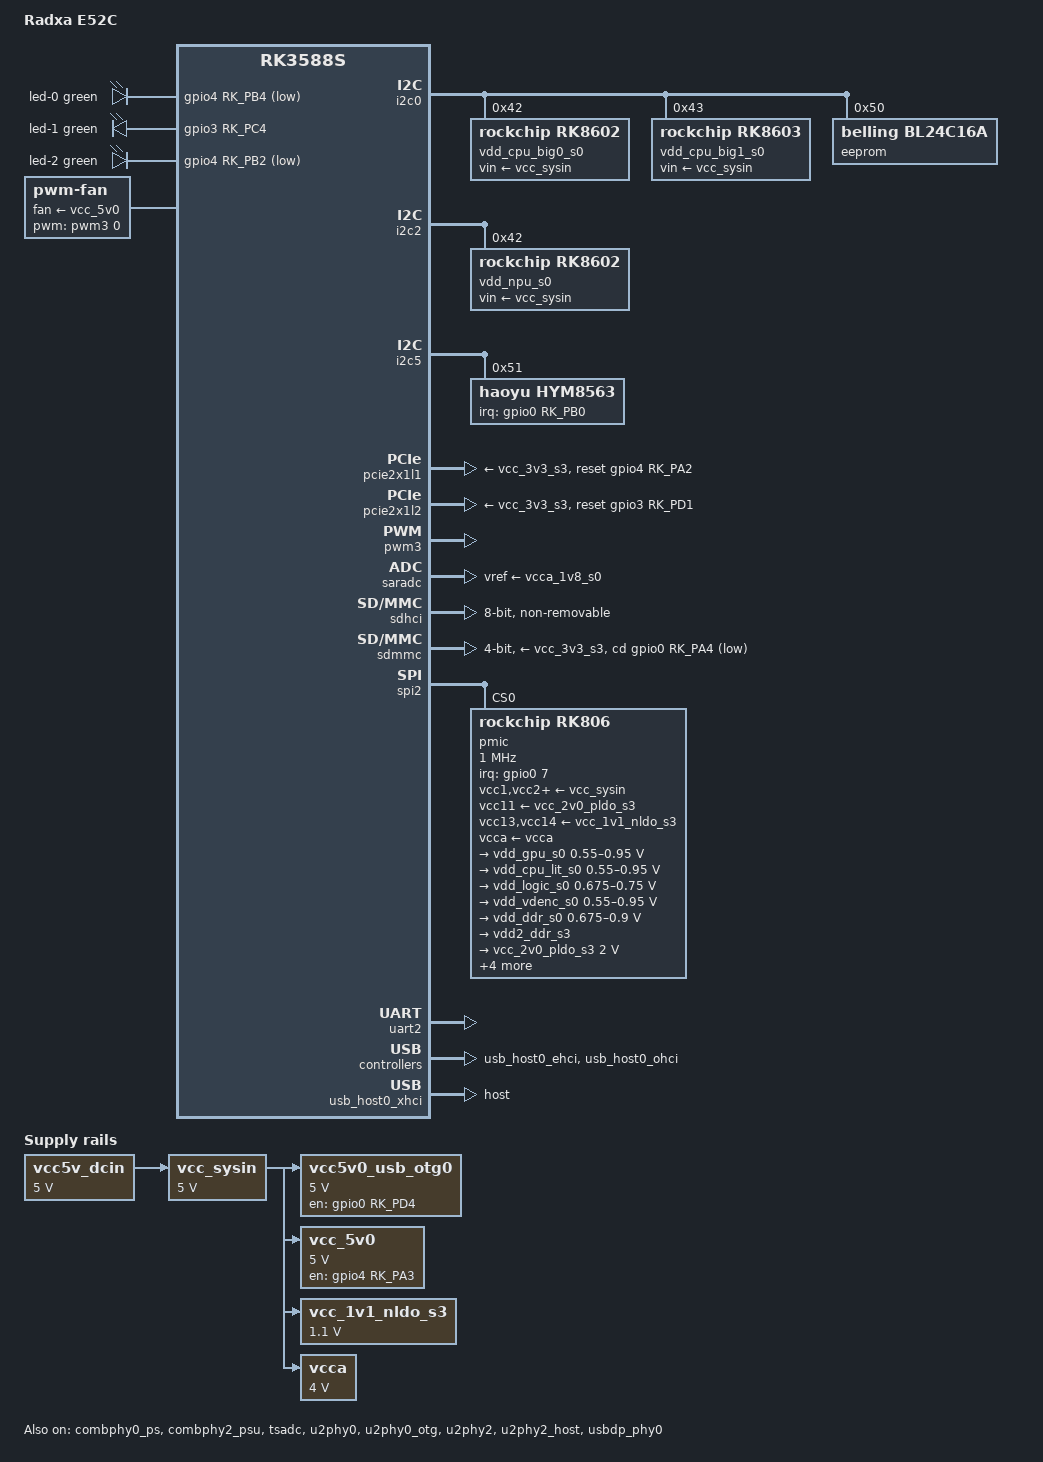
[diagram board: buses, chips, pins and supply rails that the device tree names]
// SPDX-License-Identifier: (GPL-2.0+ OR MIT)

/dts-v1/;

#include <dt-bindings/gpio/gpio.h>
#include <dt-bindings/leds/common.h>
#include <dt-bindings/pinctrl/rockchip.h>
#include "rk3588s.dtsi"

/ {
	model = "Radxa E52C";
	compatible = "radxa,e52c", "rockchip,rk3588s";

	aliases {
		mmc0 = &sdhci;
		mmc1 = &sdmmc;
	};

	chosen {
		stdout-path = "serial2:1500000n8";
	};

	leds {
		compatible = "gpio-leds";
		pinctrl-names = "default";
		pinctrl-0 = <&lan_led &power_led &wan_led>;

		led-0 {
			color = <LED_COLOR_ID_GREEN>;
			default-state = "on";
			function = LED_FUNCTION_WAN;
			gpios = <&gpio4 RK_PB4 GPIO_ACTIVE_LOW>;
			linux,default-trigger = "r8169-3-3100:00:link";
		};

		led-1 {
			color = <LED_COLOR_ID_GREEN>;
			default-state = "on";
			function = LED_FUNCTION_HEARTBEAT;
			gpios = <&gpio3 RK_PC4 GPIO_ACTIVE_HIGH>;
			linux,default-trigger = "heartbeat";
		};

		led-2 {
			color = <LED_COLOR_ID_GREEN>;
			default-state = "on";
			function = LED_FUNCTION_LAN;
			gpios = <&gpio4 RK_PB2 GPIO_ACTIVE_LOW>;
			linux,default-trigger = "r8169-4-4100:00:link";
		};
	};

	fan: pwm-fan {
		compatible = "pwm-fan";
		cooling-levels = <0 95 145 195 255>;
		fan-supply = <&vcc_5v0>;
		pwms = <&pwm3 0 50000 0>;
		#cooling-cells = <2>;
	};

	vcc5v_dcin: vcc5v-dcin-regulator {
		compatible = "regulator-fixed";
		regulator-name = "vcc5v_dcin";
		regulator-always-on;
		regulator-boot-on;
		regulator-min-microvolt = <5000000>;
		regulator-max-microvolt = <5000000>;
	};

	vcc5v0_usb_otg0: vcc5v0-usb-otg0-regulator {
		compatible = "regulator-fixed";
		regulator-name = "vcc5v0_usb_otg0";
		regulator-min-microvolt = <5000000>;
		regulator-max-microvolt = <5000000>;
		enable-active-high;
		gpio = <&gpio0 RK_PD4 GPIO_ACTIVE_HIGH>;
		pinctrl-names = "default";
		pinctrl-0 = <&usb_otg_pwren_h>;
		vin-supply = <&vcc_sysin>;
	};

	vcc_5v0: vcc-5v0-regulator {
		compatible = "regulator-fixed";
		regulator-name = "vcc_5v0";
		regulator-min-microvolt = <5000000>;
		regulator-max-microvolt = <5000000>;
		regulator-boot-on;
		regulator-always-on;
		enable-active-high;
		gpio = <&gpio4 RK_PA3 GPIO_ACTIVE_HIGH>;
		pinctrl-names = "default";
		pinctrl-0 = <&vcc_5v0_pwren_h>;
		vin-supply = <&vcc_sysin>;
	};

	vcc_1v1_nldo_s3: vcc-1v1-nldo-s3-regulator {
		compatible = "regulator-fixed";
		regulator-name = "vcc_1v1_nldo_s3";
		regulator-always-on;
		regulator-boot-on;
		regulator-min-microvolt = <1100000>;
		regulator-max-microvolt = <1100000>;
		vin-supply = <&vcc_sysin>;
	};

	vcc_sysin: vcc-sysin-regulator {
		compatible = "regulator-fixed";
		regulator-name = "vcc_sysin";
		regulator-always-on;
		regulator-boot-on;
		regulator-min-microvolt = <5000000>;
		regulator-max-microvolt = <5000000>;
		vin-supply = <&vcc5v_dcin>;
	};

	vcca: vcca-regulator {
		compatible = "regulator-fixed";
		regulator-name = "vcca";
		regulator-always-on;
		regulator-boot-on;
		regulator-min-microvolt = <4000000>;
		regulator-max-microvolt = <4000000>;
		vin-supply = <&vcc_sysin>;
	};
};

&combphy0_ps {
	status = "okay";
};

&combphy2_psu {
	status = "okay";
};

&cpu_b0 {
	cpu-supply = <&vdd_cpu_big0_s0>;
};

&cpu_b1 {
	cpu-supply = <&vdd_cpu_big0_s0>;
};

&cpu_b2 {
	cpu-supply = <&vdd_cpu_big1_s0>;
};

&cpu_b3 {
	cpu-supply = <&vdd_cpu_big1_s0>;
};

&cpu_l0 {
	cpu-supply = <&vdd_cpu_lit_s0>;
};

&cpu_l1 {
	cpu-supply = <&vdd_cpu_lit_s0>;
};

&cpu_l2 {
	cpu-supply = <&vdd_cpu_lit_s0>;
};

&cpu_l3 {
	cpu-supply = <&vdd_cpu_lit_s0>;
};

&i2c0 {
	pinctrl-names = "default";
	pinctrl-0 = <&i2c0m2_xfer>;
	status = "okay";

	vdd_cpu_big0_s0: vdd_cpu_big0_mem_s0: regulator@42 {
		compatible = "rockchip,rk8602";
		reg = <0x42>;
		fcs,suspend-voltage-selector = <1>;
		regulator-name = "vdd_cpu_big0_s0";
		regulator-always-on;
		regulator-boot-on;
		regulator-min-microvolt = <550000>;
		regulator-max-microvolt = <1050000>;
		regulator-ramp-delay = <2300>;
		vin-supply = <&vcc_sysin>;

		regulator-state-mem {
			regulator-off-in-suspend;
		};
	};

	vdd_cpu_big1_s0: vdd_cpu_big1_mem_s0: regulator@43 {
		compatible = "rockchip,rk8603", "rockchip,rk8602";
		reg = <0x43>;
		fcs,suspend-voltage-selector = <1>;
		regulator-name = "vdd_cpu_big1_s0";
		regulator-always-on;
		regulator-boot-on;
		regulator-min-microvolt = <550000>;
		regulator-max-microvolt = <1050000>;
		regulator-ramp-delay = <2300>;
		vin-supply = <&vcc_sysin>;

		regulator-state-mem {
			regulator-off-in-suspend;
		};
	};

	eeprom: eeprom@50 {
		compatible = "belling,bl24c16a", "atmel,24c16";
		reg = <0x50>;
		pagesize = <16>;
	};
};

&i2c2 {
	status = "okay";

	vdd_npu_s0: vdd_npu_mem_s0: regulator@42 {
		compatible = "rockchip,rk8602";
		reg = <0x42>;
		fcs,suspend-voltage-selector = <1>;
		regulator-name = "vdd_npu_s0";
		regulator-always-on;
		regulator-boot-on;
		regulator-min-microvolt = <550000>;
		regulator-max-microvolt = <950000>;
		regulator-ramp-delay = <2300>;
		vin-supply = <&vcc_sysin>;

		regulator-state-mem {
			regulator-off-in-suspend;
		};
	};
};

&i2c5 {
	status = "okay";
	pinctrl-names = "default";
	pinctrl-0 = <&i2c5m2_xfer>;

	hym8563: rtc@51 {
		compatible = "haoyu,hym8563";
		reg = <0x51>;
		#clock-cells = <0>;
		clock-output-names = "hym8563";
		pinctrl-names = "default";
		pinctrl-0 = <&hym8563_int>;
		interrupt-parent = <&gpio0>;
		interrupts = <RK_PB0 IRQ_TYPE_LEVEL_LOW>;
		wakeup-source;
	};
};

&pcie2x1l1 {
	reset-gpios = <&gpio4 RK_PA2 GPIO_ACTIVE_HIGH>;
	vpcie3v3-supply = <&vcc_3v3_s3>;
	status = "okay";
};

&pcie2x1l2 {
	reset-gpios = <&gpio3 RK_PD1 GPIO_ACTIVE_HIGH>;
	vpcie3v3-supply = <&vcc_3v3_s3>;
	status = "okay";
};

&pinctrl {
	leds {
		lan_led: lan-led {
			rockchip,pins = <4 RK_PB2 RK_FUNC_GPIO &pcfg_pull_none>;
		};
		power_led: power-led {
			rockchip,pins = <3 RK_PC4 RK_FUNC_GPIO &pcfg_pull_none>;
		};
		wan_led: wan-led {
			rockchip,pins = <4 RK_PB4 RK_FUNC_GPIO &pcfg_pull_none>;
		};
	};

	power {
		usb_otg_pwren_h: usb-otg-pwren-h {
			rockchip,pins = <0 RK_PD4 RK_FUNC_GPIO &pcfg_pull_none>;
		};
		vcc_5v0_pwren_h: vcc-5v0-pwren-h {
			rockchip,pins = <4 RK_PA3 RK_FUNC_GPIO &pcfg_pull_none>;
		};
	};

	rtc {
		hym8563_int: hym8563-int {
			rockchip,pins = <0 RK_PB0 RK_FUNC_GPIO &pcfg_pull_none>;
		};
	};
};

&pwm3 {
	pinctrl-names = "default";
	pinctrl-0 = <&pwm3m1_pins>;
	status = "okay";
};

&saradc {
	vref-supply = <&vcca_1v8_s0>;
	status = "okay";
};

&sdhci {
	bus-width = <8>;
	no-sdio;
	no-sd;
	non-removable;
	mmc-hs400-1_8v;
	mmc-hs400-enhanced-strobe;
	status = "okay";
};

&sdmmc {
	bus-width = <4>;
	cap-mmc-highspeed;
	cap-sd-highspeed;
	cd-gpios = <&gpio0 RK_PA4 GPIO_ACTIVE_LOW>;
	disable-wp;
	max-frequency = <150000000>;
	no-sdio;
	no-mmc;
	sd-uhs-sdr104;
	vmmc-supply = <&vcc_3v3_s3>;
	vqmmc-supply = <&vccio_sd_s0>;
	status = "okay";
};

&spi2 {
	status = "okay";
	assigned-clocks = <&cru CLK_SPI2>;
	assigned-clock-rates = <200000000>;
	num-cs = <1>;
	pinctrl-names = "default";
	pinctrl-0 = <&spi2m2_cs0 &spi2m2_pins>;

	pmic@0 {
		compatible = "rockchip,rk806";
		reg = <0x0>;
		interrupt-parent = <&gpio0>;
		interrupts = <7 IRQ_TYPE_LEVEL_LOW>;
		pinctrl-names = "default";
		pinctrl-0 = <&pmic_pins>, <&rk806_dvs1_null>,
			    <&rk806_dvs2_null>, <&rk806_dvs3_null>;
		spi-max-frequency = <1000000>;
		system-power-controller;

		vcc1-supply = <&vcc_sysin>;
		vcc2-supply = <&vcc_sysin>;
		vcc3-supply = <&vcc_sysin>;
		vcc4-supply = <&vcc_sysin>;
		vcc5-supply = <&vcc_sysin>;
		vcc6-supply = <&vcc_sysin>;
		vcc7-supply = <&vcc_sysin>;
		vcc8-supply = <&vcc_sysin>;
		vcc9-supply = <&vcc_sysin>;
		vcc10-supply = <&vcc_sysin>;
		vcc11-supply = <&vcc_2v0_pldo_s3>;
		vcc12-supply = <&vcc_sysin>;
		vcc13-supply = <&vcc_1v1_nldo_s3>;
		vcc14-supply = <&vcc_1v1_nldo_s3>;
		vcca-supply = <&vcca>;

		gpio-controller;
		#gpio-cells = <2>;

		rk806_dvs1_null: dvs1-null-pins {
			pins = "gpio_pwrctrl1";
			function = "pin_fun0";
		};

		rk806_dvs2_null: dvs2-null-pins {
			pins = "gpio_pwrctrl2";
			function = "pin_fun0";
		};

		rk806_dvs3_null: dvs3-null-pins {
			pins = "gpio_pwrctrl3";
			function = "pin_fun0";
		};

		regulators {
			vdd_gpu_s0: vdd_gpu_mem_s0: dcdc-reg1 {
				regulator-name = "vdd_gpu_s0";
				regulator-boot-on;
				regulator-min-microvolt = <550000>;
				regulator-max-microvolt = <950000>;
				regulator-ramp-delay = <12500>;
				regulator-enable-ramp-delay = <400>;

				regulator-state-mem {
					regulator-off-in-suspend;
				};
			};

			vdd_cpu_lit_s0: vdd_cpu_lit_mem_s0: dcdc-reg2 {
				regulator-name = "vdd_cpu_lit_s0";
				regulator-always-on;
				regulator-boot-on;
				regulator-min-microvolt = <550000>;
				regulator-max-microvolt = <950000>;
				regulator-ramp-delay = <12500>;

				regulator-state-mem {
					regulator-off-in-suspend;
				};
			};

			vdd_logic_s0: dcdc-reg3 {
				regulator-name = "vdd_logic_s0";
				regulator-always-on;
				regulator-boot-on;
				regulator-min-microvolt = <675000>;
				regulator-max-microvolt = <750000>;
				regulator-ramp-delay = <12500>;

				regulator-state-mem {
					regulator-off-in-suspend;
					regulator-suspend-microvolt = <750000>;
				};
			};

			vdd_vdenc_s0: vdd_vdenc_mem_s0: dcdc-reg4 {
				regulator-name = "vdd_vdenc_s0";
				regulator-always-on;
				regulator-boot-on;
				regulator-min-microvolt = <550000>;
				regulator-max-microvolt = <950000>;
				regulator-ramp-delay = <12500>;

				regulator-state-mem {
					regulator-off-in-suspend;
				};
			};

			vdd_ddr_s0: dcdc-reg5 {
				regulator-name = "vdd_ddr_s0";
				regulator-always-on;
				regulator-boot-on;
				regulator-min-microvolt = <675000>;
				regulator-max-microvolt = <900000>;
				regulator-ramp-delay = <12500>;

				regulator-state-mem {
					regulator-off-in-suspend;
					regulator-suspend-microvolt = <850000>;
				};
			};

			vdd2_ddr_s3: dcdc-reg6 {
				regulator-name = "vdd2_ddr_s3";
				regulator-always-on;
				regulator-boot-on;

				regulator-state-mem {
					regulator-on-in-suspend;
				};
			};

			vcc_2v0_pldo_s3: dcdc-reg7 {
				regulator-name = "vdd_2v0_pldo_s3";
				regulator-always-on;
				regulator-boot-on;
				regulator-min-microvolt = <2000000>;
				regulator-max-microvolt = <2000000>;
				regulator-ramp-delay = <12500>;

				regulator-state-mem {
					regulator-on-in-suspend;
					regulator-suspend-microvolt = <2000000>;
				};
			};

			vcc_3v3_s3: dcdc-reg8 {
				regulator-name = "vcc_3v3_s3";
				regulator-always-on;
				regulator-boot-on;
				regulator-min-microvolt = <3300000>;
				regulator-max-microvolt = <3300000>;

				regulator-state-mem {
					regulator-on-in-suspend;
					regulator-suspend-microvolt = <3300000>;
				};
			};

			vddq_ddr_s0: dcdc-reg9 {
				regulator-name = "vddq_ddr_s0";
				regulator-always-on;
				regulator-boot-on;

				regulator-state-mem {
					regulator-off-in-suspend;
				};
			};

			vcc_1v8_s3: dcdc-reg10 {
				regulator-name = "vcc_1v8_s3";
				regulator-always-on;
				regulator-boot-on;
				regulator-min-microvolt = <1800000>;
				regulator-max-microvolt = <1800000>;

				regulator-state-mem {
					regulator-on-in-suspend;
					regulator-suspend-microvolt = <1800000>;
				};
			};

			vcc_1v8_s0: pldo-reg1 {
				regulator-name = "vcc_1v8_s0";
				regulator-always-on;
				regulator-boot-on;
				regulator-min-microvolt = <1800000>;
				regulator-max-microvolt = <1800000>;

				regulator-state-mem {
					regulator-off-in-suspend;
				};
			};

			vcca_1v8_s0: pldo-reg2 {
				regulator-name = "vcca_1v8_s0";
				regulator-always-on;
				regulator-boot-on;
				regulator-min-microvolt = <1800000>;
				regulator-max-microvolt = <1800000>;

				regulator-state-mem {
					regulator-off-in-suspend;
					regulator-suspend-microvolt = <1800000>;
				};
			};

			vdda_1v2_s0: pldo-reg3 {
				regulator-name = "vdda_1v2_s0";
				regulator-always-on;
				regulator-boot-on;
				regulator-min-microvolt = <1200000>;
				regulator-max-microvolt = <1200000>;

				regulator-state-mem {
					regulator-off-in-suspend;
				};
			};

			vcca_3v3_s0: pldo-reg4 {
				regulator-name = "vcca_3v3_s0";
				regulator-always-on;
				regulator-boot-on;
				regulator-min-microvolt = <3300000>;
				regulator-max-microvolt = <3300000>;
				regulator-ramp-delay = <12500>;

				regulator-state-mem {
					regulator-off-in-suspend;
				};
			};

			vccio_sd_s0: pldo-reg5 {
				regulator-name = "vccio_sd_s0";
				regulator-always-on;
				regulator-boot-on;
				regulator-min-microvolt = <1800000>;
				regulator-max-microvolt = <3300000>;
				regulator-ramp-delay = <12500>;

				regulator-state-mem {
					regulator-off-in-suspend;
				};
			};

			vdd_0v75_s3: nldo-reg1 {
				regulator-name = "vdd_0v75_s3";
				regulator-always-on;
				regulator-boot-on;
				regulator-min-microvolt = <750000>;
				regulator-max-microvolt = <750000>;

				regulator-state-mem {
					regulator-on-in-suspend;
					regulator-suspend-microvolt = <750000>;
				};
			};

			vdda_ddr_pll_s0: nldo-reg2 {
				regulator-name = "vdda_ddr_pll_s0";
				regulator-always-on;
				regulator-boot-on;
				regulator-min-microvolt = <850000>;
				regulator-max-microvolt = <850000>;

				regulator-state-mem {
					regulator-off-in-suspend;
					regulator-suspend-microvolt = <850000>;
				};
			};

			vdda_0v75_s0: nldo-reg3 {
				regulator-name = "vdda_0v75_s0";
				regulator-always-on;
				regulator-boot-on;
				regulator-min-microvolt = <750000>;
				regulator-max-microvolt = <750000>;

				regulator-state-mem {
					regulator-off-in-suspend;
				};
			};

			vdd_0v85_s0: nldo-reg4 {
				regulator-name = "vdd_0v85_s0";
				regulator-always-on;
				regulator-boot-on;
				regulator-min-microvolt = <850000>;
				regulator-max-microvolt = <850000>;

				regulator-state-mem {
					regulator-off-in-suspend;
				};
			};

			vdd_0v75_s0: nldo-reg5 {
				regulator-name = "vdd_0v75_s0";
				regulator-always-on;
				regulator-boot-on;
				regulator-min-microvolt = <750000>;
				regulator-max-microvolt = <750000>;

				regulator-state-mem {
					regulator-off-in-suspend;
				};
			};
		};
	};
};

&tsadc {
	status = "okay";
};

&u2phy0 {
	status = "okay";
};

&u2phy0_otg {
	status = "okay";
};

&u2phy2 {
	status = "okay";
};

&u2phy2_host {
	phy-supply = <&vcc5v0_usb_otg0>;
	status = "okay";
};

&uart2 {
	pinctrl-0 = <&uart2m0_xfer>;
	status = "okay";
};

&usbdp_phy0 {
	rockchip,dp-lane-mux = <2 3>;
	status = "okay";
};

&usb_host0_ehci {
	status = "okay";
};

&usb_host0_ohci {
	status = "okay";
};

&usb_host0_xhci {
	dr_mode = "host";
	status = "okay";
};
